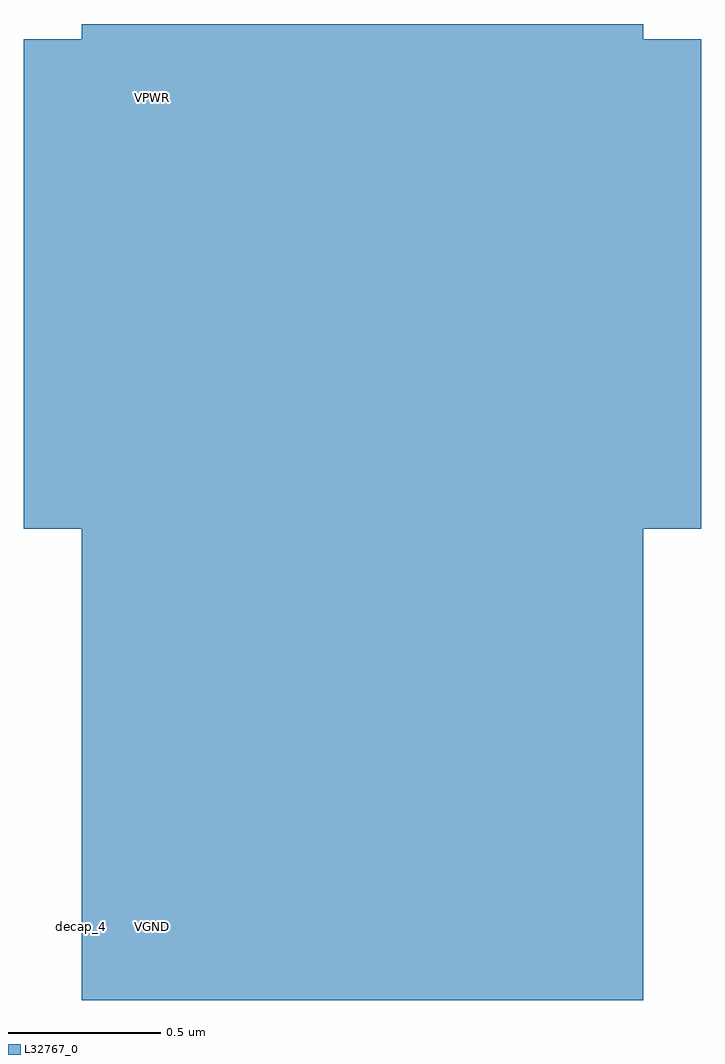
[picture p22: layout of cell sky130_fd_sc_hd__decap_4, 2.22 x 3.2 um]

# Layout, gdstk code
import gdstk
lib = gdstk.Library(unit=1e-6, precision=1e-09)
def R(c, l, rs):  # rectangles x0, y0, x1, y1
    for r in rs: c.add(gdstk.rectangle(r[:2], r[2:], *l))
def A(c, l, x, y, w, h, nx, ny, dx, dy):  # array of equal rectangles
    R(c, l, [(x+i*dx, y+j*dy, x+i*dx+w, y+j*dy+h) for i in range(nx) for j in range(ny)])
def P(c, l, *ps):  # polygons
    for p in ps: c.add(gdstk.Polygon(p, *l))
L32767_0 = (32767, 0)

sky130_fd_sc_hd__decap_4 = lib.new_cell('sky130_fd_sc_hd__decap_4')
A(sky130_fd_sc_hd__decap_4, L32767_0, 0.145, -0.085, 0.17, 0.17, 4, 2, 0.46, 2.72)
R(sky130_fd_sc_hd__decap_4, L32767_0, [(0,-0.19,1.84,1.015), (0.145,-0.085,0.315,0.085), (0.145,-0.085,0.315,0.085), (0,0,1.84,2.72), (0,0,1.84,2.72), (0.135,0.235,1.705,0.785), (0.175,0.425,0.345,0.595), (1.495,0.425,1.665,0.595), (1.485,1.025,1.655,1.195), (0.185,1.205,0.355,1.375), (0,1.25,1.84,2.72), (-0.19,1.305,2.03,2.91), (0,1.485,1.84,2.91), (0.135,1.615,1.705,2.485), (0.175,1.745,0.345,1.915), (1.495,1.745,1.665,1.915), (0.175,2.255,0.345,2.425), (1.495,2.255,1.665,2.425), (0.145,2.635,0.315,2.805), (0.145,2.635,0.315,2.805)])
P(sky130_fd_sc_hd__decap_4, L32767_0, [(1.445,2.615),(0.395,2.615),(0.395,1.455),(0.105,1.455),(0.105,1.125),(0.815,1.125),(0.815,1.485),(1.445,1.485)],
  [(1.735,1.275),(1.025,1.275),(1.025,0.915),(0.395,0.915),(0.395,0.105),(1.445,0.105),(1.445,0.945),(1.735,0.945)],
  [(1.84,2.805),(0,2.805),(0,2.635),(0.085,2.635),(0.085,1.545),(1.005,1.545),(1.005,1.025),(1.755,1.025),(1.755,2.635),(1.84,2.635)],
  [(1.84,0.085),(1.755,0.085),(1.755,0.855),(0.835,0.855),(0.835,1.375),(0.085,1.375),(0.085,0.085),(0,0.085),(0,-0.085),(1.84,-0.085)],
  [(1.84,1.345),(0.455,1.345),(0.455,1.475),(0,1.475),(0,0.975),(1.385,0.975),(1.385,0.925),(1.84,0.925)])
sky130_fd_sc_hd__decap_4.add(gdstk.FlexPath([(0,2.72),(1.84,2.72)], 0.48, ends="flush", simple_path=True, layer=32767, datatype=0))  # L32767_0
sky130_fd_sc_hd__decap_4.add(gdstk.FlexPath([(0,0),(1.84,0)], 0.48, ends="flush", simple_path=True, layer=32767, datatype=0))  # L32767_0
sky130_fd_sc_hd__decap_4.add(gdstk.Label('VGND', (0.23,0), layer=32767, texttype=5))
sky130_fd_sc_hd__decap_4.add(gdstk.Label('VPWR', (0.23,2.72), layer=32767, texttype=5))
sky130_fd_sc_hd__decap_4.add(gdstk.Label('VPB', (0.23,2.72), layer=32767, texttype=5))
sky130_fd_sc_hd__decap_4.add(gdstk.Label('VNB', (0.23,0), layer=32767, texttype=59))
sky130_fd_sc_hd__decap_4.add(gdstk.Label('decap_4', (0,0), layer=32767, texttype=44))

lib.write_gds('sky130_fd_sc_hd__decap_4.gds')
